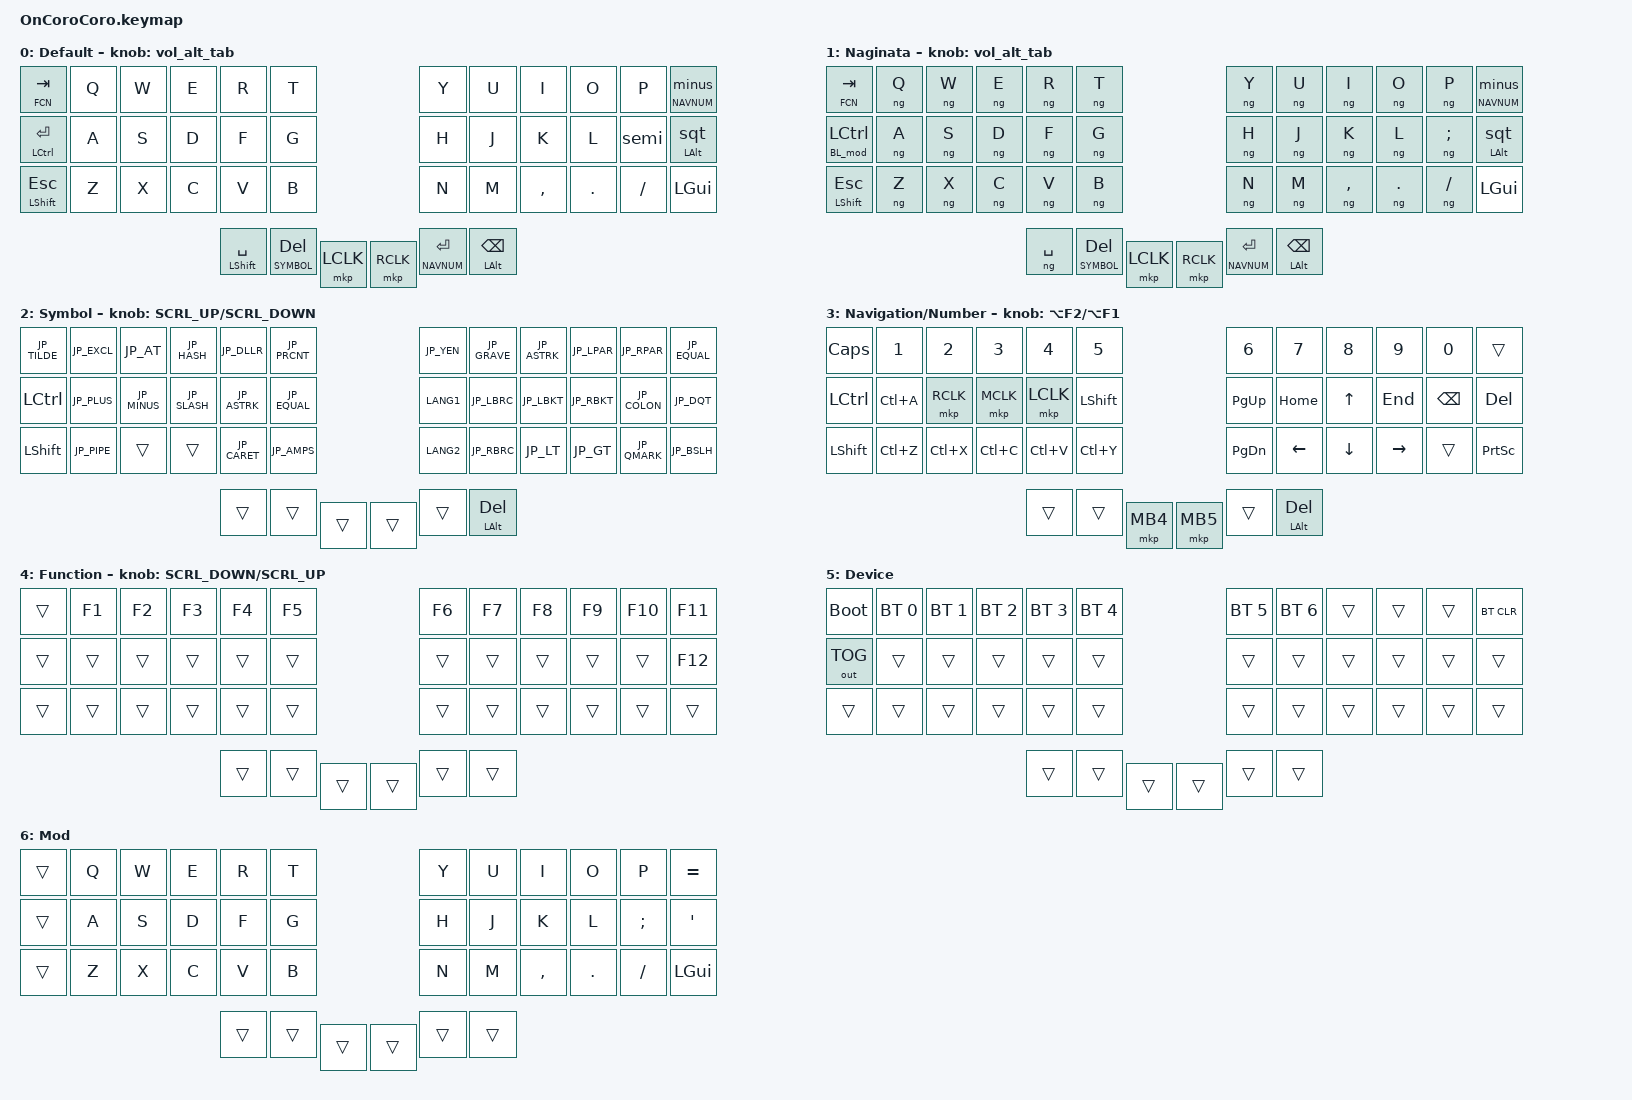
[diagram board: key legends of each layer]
#include <behaviors.dtsi>
#include <dt-bindings/zmk/bt.h>

#define ZMK_POINTING_DEFAULT_SCRL_VAL 120

#include <dt-bindings/zmk/keys.h>
#include <dt-bindings/zmk/pointing.h>
#include <dt-bindings/zmk/outputs.h>

#include "keycode_japanese.h"
#include <behaviors/naginata.dtsi>

#define DEFAULT 0
#define NAGINATA 1
#define SYMBOL 2
#define NAVNUM 3
#define FCN 4
#define DEVICE 5
#define MOUSE 6
#define MOD 7

#define CLICK_L 38
#define CLICK_M 39

&mt {
    flavor = "hold-preferred";
};

&lt {
    flavor = "hold-preferred";
};

&msc {
    delay-ms = <0>;
    trigger-period-ms = <10>; // default:16
    time-to-max-speed-ms = <0>;
    acceleration-exponent = <0>;
};

/ {
    conditional_layers {
        compatible = "zmk,conditional-layers";
        device_layer {
            if-layers = <SYMBOL NAVNUM>;
            then-layer = <DEVICE>;
        };
    };

    combos{
        compatible = "zmk,combos";
        combo_rclck {
            timeout-ms = <100>;
            key-positions = <CLICK_L CLICK_M>;
            bindings = <&mkp RCLK>;
        };
    };

    behaviors {
        // Japanese settings
        minus: jp-minus {
            compatible = "zmk,behavior-mod-morph";
            #binding-cells = <0>;
            bindings = <&kp JP_MINUS>, <&kp JP_UNDER>;
            mods = <(MOD_LSFT|MOD_RSFT)>;
        };
        semi: jp-semi {
            compatible = "zmk,behavior-mod-morph";
            #binding-cells = <0>;
            bindings = <&kp JP_SEMI>, <&kp JP_COLON>;
            mods = <(MOD_LSFT|MOD_RSFT)>;
        };
        sqt: jp-sqt {
            compatible = "zmk,behavior-mod-morph";
            #binding-cells = <0>;
            bindings = <&kp JP_SQT>, <&kp JP_DQT>;
            mods = <(MOD_LSFT|MOD_RSFT)>;
        };
        minusmod: minus_mod {
            compatible = "zmk,behavior-hold-tap";
            #binding-cells = <2>;
            flavor = "tap-preferred";
            tapping-term-ms = <200>;
            bindings = <&kp>, <&minus>;
        };
        minuslayer: minus_layer {
            compatible = "zmk,behavior-hold-tap";
            #binding-cells = <2>;
            flavor = "tap-preferred";
            hold-while-undecided;
            tapping-term-ms = <200>;
            bindings = <&mo>, <&minus>;
        };
        sqtmod: sqt_mod {
            compatible = "zmk,behavior-hold-tap";
            #binding-cells = <2>;
            flavor = "tap-preferred";
            tapping-term-ms = <200>;
            bindings = <&kp>, <&sqt>;
        };
        // Hold-Tap
        plt: positional_layer_tap {
            compatible = "zmk,behavior-hold-tap";
            #binding-cells = <2>;
            flavor = "hold-preferred";
            tapping-term-ms = <1000>;
            quick-tap-ms = <200>;
            bindings = <&mo>, <&kp>;
            hold-trigger-key-positions = <0>;
        };
        mth: mt-hold-while-undecided {
            compatible = "zmk,behavior-hold-tap";
            #binding-cells = <2>;
            flavor = "hold-preferred";
            hold-while-undecided;
            tapping-term-ms = <200>;
            bindings = <&kp>, <&kp>;
        };
        lth: lt-hold-while-undecided {
            compatible = "zmk,behavior-hold-tap";
            #binding-cells = <2>;
            flavor = "hold-preferred";
            hold-while-undecided;
            tapping-term-ms = <200>;
            bindings = <&mo>, <&kp>;
        };
        ltc: lt-with-click_L {
            compatible = "zmk,behavior-hold-tap";
            #binding-cells = <2>;
            flavor = "hold-preferred";
            hold-while-undecided;
            tapping-term-ms = <200>;
            bindings = <&mo>, <&mkp>;
        };
        mtt: mt-tap-preferred {
            compatible = "zmk,behavior-hold-tap";
            #binding-cells = <2>;
            tapping-term-ms = <150>;
            quick-tap-ms = <0>;
            flavor = "tap-preferred";
            bindings = <&kp>, <&kp>;
        };
        pmtc: positional_mod_tap_click_L {
            compatible = "zmk,behavior-hold-tap";
            #binding-cells = <2>;
            flavor = "hold-preferred";
            tapping-term-ms = <1000>;
            quick-tap-ms = <200>;
            bindings = <&kp>, <&kp>;
            hold-trigger-key-positions = <CLICK_L>;
        };
        ltt: lt-tap-preferred {
            compatible = "zmk,behavior-hold-tap";
            #binding-cells = <2>;
            flavor = "tap-preferred";
            tapping-term-ms = <200>;
            bindings = <&mo>, <&kp>;
        };

        // Encoders
        rot_kp: sensor_rotate_kp {
            compatible = "zmk,behavior-sensor-rotate-var";
            #sensor-binding-cells = <2>;
            bindings = <&kp>, <&kp>;
        };

        mouse_scrl: mouse_wheel_scrl {
            compatible = "zmk,behavior-sensor-rotate-var";
            #sensor-binding-cells = <2>;
            bindings = <&msc>, <&msc>;
            tap-ms = <10>;
        };
        alt_p: alt-positive {
            compatible = "zmk,behavior-mod-morph";
            #binding-cells = <0>;
            bindings = <&kp 0>, <&kp TAB>;
            mods = <(MOD_LALT|MOD_RALT)>;
            keep-mods = <(MOD_LALT)>;
        };
        gui_p: gui-positive {
            compatible = "zmk,behavior-mod-morph";
            #binding-cells = <0>;
            bindings = <&kp 0>, <&kp RIGHT>;
            mods = <(MOD_LGUI|MOD_RGUI)>;
            keep-mods = <(MOD_LGUI)>;
        };
        ag_p: alt-gui-positive {
            compatible = "zmk,behavior-mod-morph";
            #binding-cells = <0>;
            bindings = <&gui_p>, <&alt_p>;
            mods = <(MOD_LALT|MOD_RALT)>;
        };
        arrow_p: arrow-positive {
            compatible = "zmk,behavior-mod-morph";
            #binding-cells = <0>;
            bindings = <&kp RIGHT>, <&kp DOWN>;
            mods = <(MOD_LCTL|MOD_RCTL)>;
        };
        vol_arrow_p: volume-arrow-positive {
            compatible = "zmk,behavior-mod-morph";
            #binding-cells = <0>;
            bindings = <&kp C_VOL_UP>, <&arrow_p>;
            mods = <(MOD_LSFT|MOD_RSFT|MOD_LCTL|MOD_RCTL)>;
        };
        vol_alt_gui_p: volume-alt-gui-positive {
            compatible = "zmk,behavior-mod-morph";
            #binding-cells = <0>;
            bindings = <&vol_arrow_p>, <&ag_p>;
            mods = <(MOD_LALT|MOD_RALT|MOD_LGUI|MOD_RGUI)>;
        };
        alt_n: alt-negative {
            compatible = "zmk,behavior-mod-morph";
            #binding-cells = <0>;
            bindings = <&kp 0>, <&kp LS(TAB)>;
            mods = <(MOD_LALT|MOD_RALT)>;
            keep-mods = <(MOD_LALT)>;
        };
        gui_n: gui-negative {
            compatible = "zmk,behavior-mod-morph";
            #binding-cells = <0>;
            bindings = <&kp 0>, <&kp LEFT>;
            mods = <(MOD_LGUI|MOD_RGUI)>;
            keep-mods = <(MOD_LGUI)>;
        };
        ag_n: alt-gui-negative {
            compatible = "zmk,behavior-mod-morph";
            #binding-cells = <0>;
            bindings = <&gui_n>, <&alt_n>;
            mods = <(MOD_LALT|MOD_RALT)>;
        };
        arrow_n: arrow-negative {
            compatible = "zmk,behavior-mod-morph";
            #binding-cells = <0>;
            bindings = <&kp LEFT>, <&kp UP>;
            mods = <(MOD_LCTL|MOD_RCTL)>;
        };
        vol_arrow_n: volume-arrow-negative {
            compatible = "zmk,behavior-mod-morph";
            #binding-cells = <0>;
            bindings = <&kp C_VOL_DN>, <&arrow_n>;
            mods = <(MOD_LSFT|MOD_RSFT|MOD_LCTL|MOD_RCTL)>;
        };
        vol_alt_gui_n: volume-right-alt-gui-negative {
            compatible = "zmk,behavior-mod-morph";
            #binding-cells = <0>;
            bindings = <&vol_arrow_n>, <&ag_n>;
            mods = <(MOD_LALT|MOD_RALT|MOD_LGUI|MOD_RGUI)>;
        };
        vol_alt_tab: volume-alt-tab {
            compatible = "zmk,behavior-sensor-rotate";
            #sensor-binding-cells = <0>;
            bindings = <&vol_alt_gui_n>, <&vol_alt_gui_p>;
            tap-ms = <10>;
        };
    };
};
// ZaruBallより移植---------------------------------------------------------------------------------------
/ {
    behaviors {
        // スクロール用のbehaviorの設定
        scroll_down_up: behavior_sensor_rotate_mouse_wheel_down_up {
            compatible = "zmk,behavior-sensor-rotate";
            #sensor-binding-cells = <0>;
            bindings = <&msc SCRL_DOWN>, <&msc SCRL_UP>;
            tap-ms = <20>; // スクロールのタップ時間
        };

        // Customed Hold-Tap for SandS
        // 他キーとの同時押しのみHold(Shift), 500m以上長押しすると、Tap(Space)のリピート
        SandS: SandS {
            compatible = "zmk,behavior-hold-tap";
            #binding-cells = <2>;
            flavor = "tap-unless-interrupted";
            tapping-term-ms = <500>; // tap-unless-interruptedのため意味は無いが、設定しないとエラーはく
            quick-tap-ms = <500>;
            bindings = <&kp>, <&kp>;

            display-name = "SandS";
        };

        ht_BASE: ht_BASE {
            compatible = "zmk,behavior-hold-tap";
            #binding-cells = <2>;
            flavor = "hold-preferred";
            tapping-term-ms = <200>;
            bindings = <&BL_mod>, <&kp>;

            display-name = "ht-BL_mod";
        };
    };

    macros {
        BL_mod: BL_mod {
            compatible = "zmk,behavior-macro-one-param";
            #binding-cells = <1>;
            bindings =
                <&macro_press>,
                <&mo MOD &macro_param_1to1>,
                <&macro_press>,
                <&kp MACRO_PLACEHOLDER>,
                <&macro_pause_for_release>,
                <&macro_param_1to1>,
                <&macro_release>,
                <&kp MACRO_PLACEHOLDER>,
                <&macro_release>,
                <&mo MOD>;
        };

        ng_on: ng_on {
            compatible = "zmk,behavior-macro";
            #binding-cells = <0>;
            bindings = <&macro_tap &kp LANG1 &to NAGINATA>;
        };
    
        ng_off: ng_off {
            compatible = "zmk,behavior-macro";
            #binding-cells = <0>;
            bindings = <&macro_tap &kp LANG2 &to DEFAULT>;
        };
    };
    combos {
        compatible = "zmk,combos";
        combo_ng_on {
            timeout-ms = <300>;
            key-positions = <18 19>;
            bindings = <&ng_on>;
            layers = <DEFAULT NAGINATA>;
        };

        combo_ng_off {
            timeout-ms = <300>;
            key-positions = <16 17>;
            bindings = <&ng_off>;
            layers = <DEFAULT NAGINATA>;
        };
    };
};

// keymap----------------------------------------------------------------------------------------
/ {
    keymap {
        compatible = "zmk,keymap";
        default_layer {
            display-name = "Default";
            bindings = <
                &lth FCN TAB    &kp Q  &kp W &kp E     &kp R     &kp T                                   &kp Y &kp U &kp I     &kp O   &kp P     &minuslayer NAVNUM 0
                &mth LCTRL RET  &kp A  &kp S &kp D     &kp F     &kp G                                   &kp H &kp J &kp K     &kp L   &semi     &sqtmod LALT 0
                &mth LSHIFT ESC &kp Z  &kp X &kp C     &kp V     &kp B                                   &kp N &kp M &kp COMMA &kp DOT &kp SLASH &kp LGUI
                                             &SandS LSHFT SPACE &lth SYMBOL DEL   &mkp LCLK  &mkp RCLK  &lth NAVNUM RET &mt LALT BSPC
            >;
            sensor-bindings = <&vol_alt_tab>; // <&vol_alt_tab &mouse_scrl SCRL_DOWN SCRL_UP>;
        };
        naginata_layer {
            display-name = "Naginata";
            bindings = <
                &lth FCN TAB    &ng Q  &ng W &ng E     &ng R     &ng T                                   &ng Y &ng U &ng I     &ng O   &ng P     &minuslayer NAVNUM 0
                &BL_mod LCTRL   &ng A  &ng S &ng D     &ng F     &ng G                                   &ng H &ng J &ng K     &ng L   &ng SEMI     &sqtmod LALT 0
                &mth LSHIFT ESC &ng Z  &ng X &ng C     &ng V     &ng B                                   &ng N &ng M &ng COMMA &ng DOT &ng SLASH &kp LGUI
                                             &ng SPACE &lth SYMBOL DEL   &mkp LCLK  &mkp RCLK  &lth NAVNUM RET &mt LALT BSPC
            >;
            sensor-bindings = <&vol_alt_tab>; // <&vol_alt_tab &mouse_scrl SCRL_DOWN SCRL_UP>;
        };
        symbol_layer {
            display-name = "Symbol";
            bindings = <
                &kp JP_TILDE &kp JP_EXCL  &kp JP_AT     &kp JP_HASH     &kp JP_DLLR  &kp JP_PRCNT              &kp JP_YEN   &kp JP_GRAVE  &kp JP_ASTRK  &kp JP_LPAR  &kp JP_RPAR  &kp JP_EQUAL
                &kp LCTRL    &kp JP_PLUS  &kp JP_MINUS  &kp JP_SLASH    &kp JP_ASTRK &kp JP_EQUAL              &kp LANG1    &kp JP_LBRC   &kp JP_LBKT   &kp JP_RBKT  &kp JP_COLON &kp JP_DQT
                &kp LSHIFT   &kp JP_PIPE  &trans        &trans          &kp JP_CARET &kp JP_AMPS               &kp LANG2    &kp JP_RBRC   &kp JP_LT     &kp JP_GT    &kp JP_QMARK &kp JP_BSLH
                                                                &trans       &trans      &trans &trans &trans       &mt LALT DEL
            >;
            sensor-bindings = <&mouse_scrl SCRL_UP SCRL_DOWN>;
        };
            // ~  ! @ # $ %    \  ` * ( ) =
            // LC + - / * =    JP { [ ] : "
            // LS | x c ^ &    EN } < > ? \
            
        navnum_layer {
            display-name = "Navigation/Number";
            bindings = <
                &kp CAPSLOCK &kp N1    &kp N2    &kp N3    &kp N4     &kp N5                     &kp N6     &kp N7    &kp N8    &kp N9     &kp N0    &trans
                &kp LCTRL    &kp LC(A) &mkp RCLK &mkp MCLK &mkp LCLK &kp LSHIFT                  &kp PG_UP  &kp HOME  &kp UP    &kp END    &kp BSPC  &kp DEL  
                &kp LSHIFT   &kp LC(Z) &kp LC(X) &kp LC(C) &kp LC(V)  &kp LC(Y)                  &kp PG_DN  &kp LEFT  &kp DOWN  &kp RIGHT  &trans    &kp PSCRN
                                                           &trans     &trans  &mkp MB4  &mkp MB5 &trans    &mt LALT DEL
            >;
            sensor-bindings = <&inc_dec_kp LA(F2) LA(F1)>;
        };
        fcn_layer {
            display-name = "Function";
            bindings = <
                &trans &kp F1 &kp F2 &kp F3 &kp F4 &kp F5               &kp F6 &kp F7 &kp F8 &kp F9 &kp F10 &kp F11
                &trans &trans &trans &trans &trans &trans               &trans &trans &trans &trans &trans  &kp F12
                &trans &trans &trans &trans &trans &trans               &trans &trans &trans &trans &trans  &trans
                                            &trans &trans &trans &trans &trans &trans
            >;
            sensor-bindings = <&mouse_scrl SCRL_DOWN SCRL_UP>; // <&mouse_scrl SCRL_DOWN SCRL_UP &mouse_scrl SCRL_LEFT SCRL_RIGHT>;
        };
        device_layer {
            display-name = "Device";
            bindings = <
                &bootloader   &bt BT_SEL 0 &bt BT_SEL 1 &bt BT_SEL 2 &bt BT_SEL 3 &bt BT_SEL 4          &bt BT_SEL 5 &bt BT_SEL 6 &trans &trans &trans &bt BT_CLR
                &out OUT_TOG  &trans       &trans       &trans       &trans       &trans                &trans       &trans       &trans &trans &trans &trans
                &trans        &trans       &trans       &trans       &trans       &trans                &trans       &trans       &trans &trans &trans &trans
                                                                   &trans       &trans  &trans &trans &trans       &trans
            >;
        };
        mouse_layer {
            display-name = "Mouse";
            status = "reserved";
            bindings = <
                &trans &trans     &trans     &trans     &trans     &trans               &trans &trans &trans &trans &trans &trans
                &trans &kp LSHFT  &mkp MCLK  &mkp LCLK  &mkp RCLK  &trans               &trans &trans &trans &trans &trans &trans
                &trans &trans     &trans     &mkp MB4   &mkp MB5   &trans               &trans &trans &trans &trans &trans &trans
                                                          &trans &trans &trans &trans &trans &trans
            >;
        };
        mod_layer {
            display-name = "Mod";
            bindings = <
                &trans &kp Q  &kp W &kp E     &kp R     &kp T                                   &kp Y &kp U &kp I     &kp O   &kp P     &kp EQUAL 
                &trans &kp A  &kp S &kp D     &kp F     &kp G                                   &kp H &kp J &kp K     &kp L   &kp SEMI  &kp SQT
                &trans &kp Z  &kp X &kp C     &kp V     &kp B                                   &kp N &kp M &kp COMMA &kp DOT &kp SLASH &kp LGUI
                                                          &trans &trans &trans &trans &trans &trans
            >;
        };
    };
};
